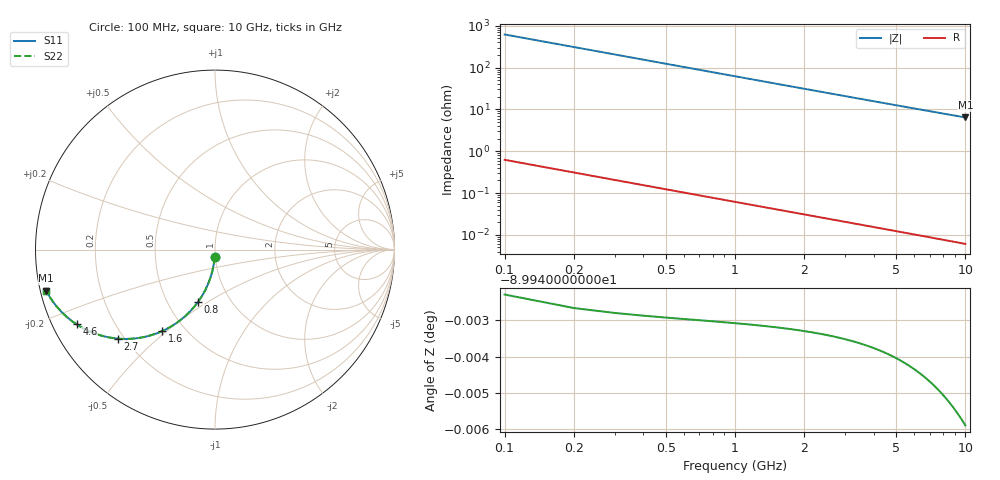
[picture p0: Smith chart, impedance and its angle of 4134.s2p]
# Hz S RI R 50.00
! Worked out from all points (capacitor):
!   100 points, 100 MHz to 10 GHz, reference 50 ohm
!   read as one part in shunt: C = 2.57 pF near 100 MHz
!   lowest |Z| = 6.44 ohm at 10 GHz (marker M1)
!   S11 on the Smith chart (normalised r, x): 100 MHz: 0.99, -0.08; 800 MHz: 0.71, -0.45; 1.6 GHz: 0.38, -0.48; 2.7 GHz: 0.18, -0.38; 4.6 GHz: 0.07, -0.25; 10 GHz: 0.02, -0.12
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1e8  -0.00165 -0.0402  0.9983 -0.0403  0.9983 -0.0403  -0.00165 -0.0402
2e8  -0.00653 -0.08  0.9934 -0.0803  0.9934 -0.0803  -0.00653 -0.08
3e8  -0.0145 -0.119  0.9854 -0.1194  0.9854 -0.1194  -0.0145 -0.119
4e8  -0.0255 -0.1569  0.9745 -0.1574  0.9745 -0.1574  -0.0255 -0.1569
5e8  -0.0392 -0.1933  0.9608 -0.194  0.9608 -0.194  -0.0392 -0.1933
6e8  -0.0555 -0.228  0.9445 -0.2288  0.9445 -0.2288  -0.0555 -0.228
8e8  -0.0944 -0.2913  0.9056 -0.2924  0.9056 -0.2924  -0.0944 -0.2913
1e9  -0.1398 -0.3456  0.8602 -0.347  0.8602 -0.347  -0.1398 -0.3456
1.2e9  -0.1895 -0.3905  0.8105 -0.3922  0.8105 -0.3922  -0.1895 -0.3905
1.4e9  -0.2411 -0.4263  0.7589 -0.4282  0.7589 -0.4282  -0.2411 -0.4263
1.6e9  -0.293 -0.4535  0.707 -0.4558  0.707 -0.4558  -0.293 -0.4535
1.8e9  -0.3438 -0.4732  0.6562 -0.4757  0.6562 -0.4757  -0.3438 -0.4732
2.2e9  -0.4384 -0.4942  0.5616 -0.4972  0.5616 -0.4972  -0.4384 -0.4942
2.7e9  -0.5397 -0.496  0.4602 -0.4998  0.4602 -0.4998  -0.5397 -0.496
3.4e9  -0.6495 -0.4742  0.3504 -0.479  0.3504 -0.479  -0.6495 -0.4742
4e9  -0.719 -0.4461  0.281 -0.4518  0.281 -0.4518  -0.719 -0.4461
4.6e9  -0.7715 -0.4161  0.2284 -0.4226  0.2284 -0.4226  -0.7715 -0.4161
5.1e9  -0.8056 -0.3915  0.1943 -0.3988  0.1943 -0.3988  -0.8056 -0.3915
5.8e9  -0.8426 -0.3595  0.1574 -0.3678  0.1574 -0.3678  -0.8426 -0.3595
6.7e9  -0.877 -0.323  0.1229 -0.3327  0.1229 -0.3327  -0.877 -0.323
8.4e9  -0.9181 -0.2676  0.0818 -0.2798  0.0818 -0.2798  -0.9181 -0.2676
1e10  -0.9408 -0.228  0.0591 -0.2427  0.0591 -0.2427  -0.9408 -0.228
